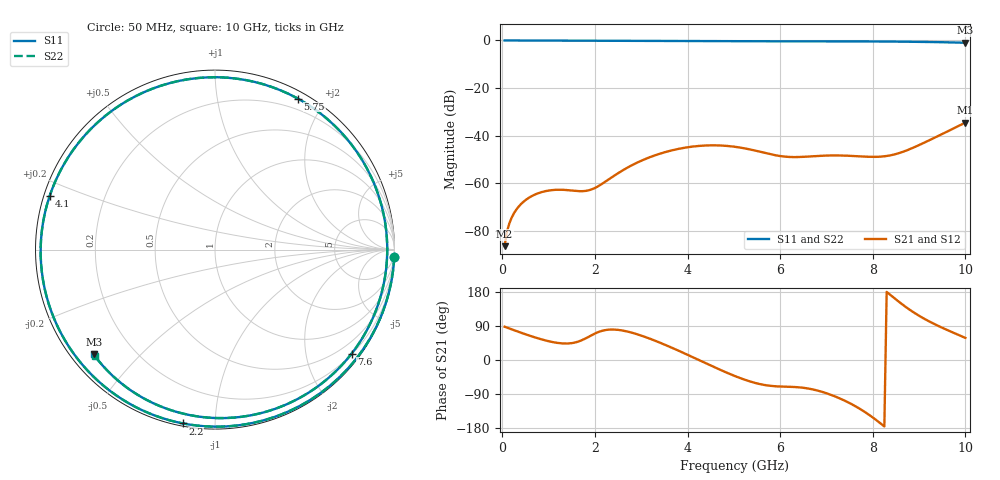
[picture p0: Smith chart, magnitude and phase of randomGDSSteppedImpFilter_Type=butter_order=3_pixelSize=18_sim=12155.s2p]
! freq	dB(S11)	phase(S11)	dB(S12)	phase(S12)
!  dB(S21)	phase(S21)	dB(S22)	phase(S22)
!S-par simulation data
#  GHz  S  DB  R 50
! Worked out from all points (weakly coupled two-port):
!   200 points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, 50 MHz to 10 GHz, reference 50 ohm
!   highest |S21| = -34.47 dB at 10 GHz (marker M1); lowest = -86.3 dB at 50 MHz (marker M2)
!   lowest |S11| = -1.0 dB at 10 GHz (marker M3), VSWR 17.75, Z = 3.21 - j18.5 ohm
!   |S11| at or under -10 dB: nowhere
!   |S22| runs from -1.0 to 0.0 dB; largest |S21 - S12| = 0
!   S11 on the Smith chart (normalised r, x): 50 MHz: 0, -50; 2.2 GHz: 0.01, -0.83; 4.1 GHz: 0.02, +0.16; 5.75 GHz: 0.08, +1.69; 7.6 GHz: 0.21, -2.94; 10 GHz: 0.06, -0.37
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0.05  -0.00 -2.3  -86.34 87.8  -86.34 87.8  -0.00 -2.3
0.1  -0.01 -4.6  -80.37 85.6  -80.37 85.6  -0.01 -4.6
0.2  -0.01 -9.1  -74.46 81.0  -74.46 81.0  -0.01 -9.1
0.35  -0.02 -15.9  -69.81 74.4  -69.81 74.4  -0.02 -15.9
0.65  -0.04 -29.5  -65.19 61.8  -65.19 61.8  -0.04 -29.5
1.1  -0.07 -50.0  -62.76 47.0  -62.76 47.0  -0.07 -49.9
1.75  -0.10 -79.6  -63.24 54.1  -63.24 54.1  -0.10 -79.6
2.2  -0.13 -100.5  -59.60 78.3  -59.60 78.3  -0.13 -100.4
2.8  -0.17 -129.2  -52.35 72.0  -52.35 72.0  -0.17 -129.0
3.4  -0.22 -159.6  -47.55 45.9  -47.55 45.9  -0.22 -159.2
4.1  -0.28 162.1  -44.56 8.2  -44.56 8.2  -0.28 162.6
4.55  -0.31 135.5  -44.01 -17.2  -44.01 -17.2  -0.31 136.3
5.05  -0.34 104.8  -44.70 -43.7  -44.70 -43.7  -0.34 105.7
5.4  -0.35 82.9  -45.96 -58.5  -45.96 -58.5  -0.35 83.9
5.75  -0.36 61.2  -47.57 -67.6  -47.57 -67.6  -0.36 62.2
6.25  -0.36 31.5  -48.94 -70.9  -48.94 -70.9  -0.36 32.5
6.7  -0.36 6.6  -48.61 -77.5  -48.61 -77.5  -0.36 7.5
7.1  -0.36 -13.9  -48.27 -92.1  -48.27 -92.1  -0.36 -13.1
7.6  -0.38 -37.4  -48.52 -120.3  -48.52 -120.3  -0.38 -36.6
8.35  -0.46 -69.2  -48.34 174.7  -48.34 174.7  -0.46 -68.7
9.2  -0.64 -103.6  -42.08 103.0  -42.08 103.0  -0.64 -103.1
10  -0.98 -139.2  -34.47 58.3  -34.47 58.3  -0.97 -138.6
